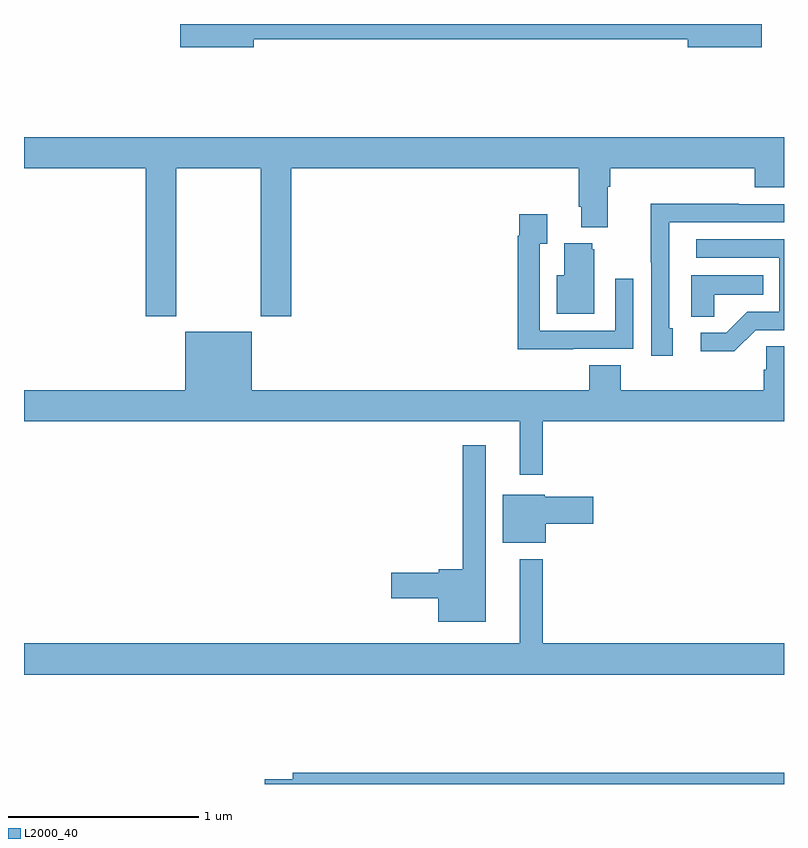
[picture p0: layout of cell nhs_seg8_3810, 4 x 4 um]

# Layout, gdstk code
import gdstk
lib = gdstk.Library(unit=1e-6, precision=1e-09)
def P(c, l, *ps):  # polygons
    for p in ps: c.add(gdstk.Polygon(p, *l))
L2000_40 = (2000, 40)

nhs_seg8_3810 = lib.new_cell('nhs_seg8_3810')
P(nhs_seg8_3810, L2000_40, [(346.21,1143.82),(348.494,1143.82),(348.494,1143.778),(348.883,1143.778),(348.883,1143.9),(345.822,1143.9),(345.822,1143.778),(346.21,1143.778)],
  [(345.801,1143.14),(346.246,1143.14),(346.246,1142.361),(346.406,1142.361),(346.406,1143.14),(347.921,1143.14),(347.921,1142.938),(347.933,1142.938),(347.933,1142.831),(348.073,1142.831),(348.073,1143.044),(348.086,1143.044),(348.086,1143.14),(348.845,1143.14),(348.845,1143.041),(349,1143.041),(349,1143.304),(345,1143.304),(345,1143.14),(345.641,1143.14),(345.641,1142.361),(345.801,1142.361)],
  [(348.415,1142.298),(348.396,1142.298),(348.396,1142.856),(349,1142.856),(349,1142.952),(348.761,1142.952),(348.761,1142.954),(348.298,1142.954),(348.298,1142.647),(348.3,1142.647),(348.3,1142.154),(348.415,1142.154)],
  [(347.891,1142.19),(348.207,1142.19),(348.207,1142.56),(348.111,1142.56),(348.111,1142.286),(347.715,1142.286),(347.715,1142.743),(347.755,1142.743),(347.755,1142.899),(347.607,1142.899),(347.607,1142.786),(347.599,1142.786),(347.599,1142.189),(347.891,1142.189)],
  [(348.852,1142.289),(349,1142.289),(349,1142.766),(348.537,1142.766),(348.537,1142.67),(348.975,1142.67),(348.975,1142.385),(348.806,1142.385),(348.695,1142.274),(348.561,1142.274),(348.561,1142.177),(348.739,1142.177)],
  [(348.001,1142.715),(347.99,1142.715),(347.99,1142.746),(347.843,1142.746),(347.843,1142.578),(347.804,1142.578),(347.804,1142.375),(348.001,1142.375)],
  [(348.633,1142.474),(348.89,1142.474),(348.89,1142.578),(348.512,1142.578),(348.512,1142.359),(348.633,1142.359)],
  [(347.731,1141.808),(349,1141.808),(349,1142.204),(348.906,1142.204),(348.906,1142.081),(348.893,1142.081),(348.893,1141.972),(348.14,1141.972),(348.14,1142.105),(347.975,1142.105),(347.975,1141.972),(346.198,1141.972),(346.198,1142.281),(345.848,1142.281),(345.848,1141.972),(345,1141.972),(345,1141.808),(347.609,1141.808),(347.609,1141.527),(347.731,1141.527)],
  [(347.431,1141.684),(347.31,1141.684),(347.31,1141.031),(347.184,1141.031),(347.184,1141.013),(346.932,1141.013),(346.932,1140.878),(347.18,1140.878),(347.18,1140.755),(347.431,1140.755)],
  [(347.746,1141.271),(347.995,1141.271),(347.995,1141.413),(347.742,1141.413),(347.742,1141.423),(347.519,1141.423),(347.519,1141.169),(347.746,1141.169)],
  [(349,1140.64),(347.731,1140.64),(347.731,1141.084),(347.609,1141.084),(347.609,1140.64),(345,1140.64),(345,1140.476),(349,1140.476)],
  [(349,1139.96),(346.415,1139.96),(346.415,1139.924),(346.266,1139.924),(346.266,1139.9),(349,1139.9)])

lib.write_gds('nhs_seg8_3810.gds')
